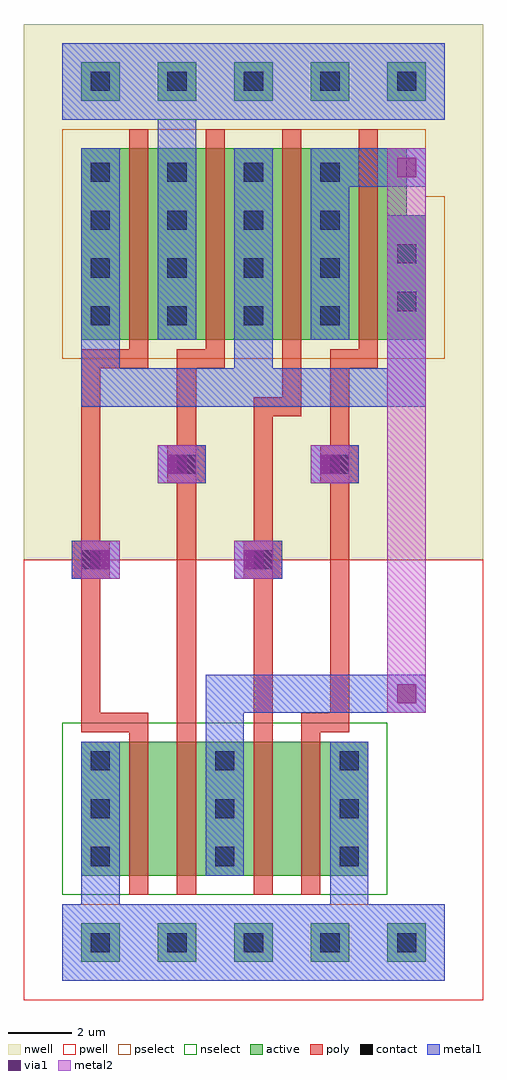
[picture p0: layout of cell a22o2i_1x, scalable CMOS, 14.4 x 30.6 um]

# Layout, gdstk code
import gdstk
lib = gdstk.Library(unit=1e-6, precision=1e-09)
def R(c, l, rs):  # rectangles x0, y0, x1, y1
    for r in rs: c.add(gdstk.rectangle(r[:2], r[2:], *l))
def A(c, l, x, y, w, h, nx, ny, dx, dy):  # array of equal rectangles
    R(c, l, [(x+i*dx, y+j*dy, x+i*dx+w, y+j*dy+h) for i in range(nx) for j in range(ny)])
contact = (25, 0)
pwell = (41, 0)
nwell = (42, 0)
active = (43, 0)
pselect = (44, 0)
nselect = (45, 0)
poly = (46, 0)
metal1 = (49, 0)
via1 = (50, 0)
metal2 = (51, 0)

a22o2i_1x = lib.new_cell('a22o2i_1x')
A(a22o2i_1x, contact, 0.3, -0.3, 0.6, 0.6, 5, 2, 2.4, 27)
A(a22o2i_1x, contact, 0.3, 2.4, 0.6, 0.6, 3, 3, 3.9, 1.5)
A(a22o2i_1x, contact, 0.3, 19.35, 0.6, 0.6, 4, 4, 2.4, 1.5)
R(a22o2i_1x, contact, [(0,11.7,0.6,12.3), (5.4,11.7,6,12.3), (3,14.7,3.6,15.3), (7.8,14.7,8.4,15.3), (9.9,19.8,10.5,20.4), (9.9,21.3,10.5,21.9)])
A(a22o2i_1x, pwell, -0.9, -1.5, 3, 3, 5, 1, 2.4, 0)
A(a22o2i_1x, pwell, -1.8, 0.3, 4.8, 7.8, 3, 1, 3.9, 0)
R(a22o2i_1x, pwell, [(-1.8,-1.8,12.6,12), (-1.2,0.3,4.8,8.1), (0.3,0.3,6.3,8.1), (2.7,0.3,8.7,8.1), (4.2,0.3,10.2,8.1), (2.25,2.55,6.825,7.05), (-1.65,3.15,2.925,7.65), (-0.075,3.3,5.175,7.8), (2.175,3.45,6.75,7.95), (3.825,3.45,9.075,7.95), (6.075,3.45,10.65,7.95)])
A(a22o2i_1x, nwell, -1.8, 17.1, 4.8, 9.6, 4, 1, 2.4, 0)
A(a22o2i_1x, nwell, -1.2, 17.1, 6, 9.6, 4, 1, 2.4, 0)
A(a22o2i_1x, nwell, -0.9, 25.5, 3, 3, 5, 1, 2.4, 0)
R(a22o2i_1x, nwell, [(-1.8,12,12.6,28.8), (0.675,17.1,5.25,21.6), (7.8,17.1,12.6,24.6), (3.075,17.25,7.8,21.75), (3.15,17.25,7.725,21.75), (0.75,17.55,5.325,22.05), (7.875,18.075,12.45,22.575), (5.55,18.15,10.125,22.65), (-1.65,18.6,2.925,23.1), (5.475,19.65,10.05,24.15)])
A(a22o2i_1x, active, 0, -0.6, 1.2, 1.2, 5, 2, 2.4, 27)
A(a22o2i_1x, active, 0, 2.1, 1.2, 4.2, 3, 1, 3.9, 0)
A(a22o2i_1x, active, 0, 18.9, 1.2, 6, 4, 1, 2.4, 0)
A(a22o2i_1x, active, 0.6, 18.9, 2.4, 6, 4, 1, 2.4, 0)
R(a22o2i_1x, active, [(0.6,2.1,3,6.3), (2.1,2.1,4.5,6.3), (4.5,2.1,6.9,6.3), (6,2.1,8.4,6.3), (4.05,4.35,5.025,5.25), (0.15,4.95,1.125,5.85), (1.725,5.1,3.375,6), (3.975,5.25,4.95,6.15), (5.625,5.25,7.275,6.15), (7.875,5.25,8.85,6.15), (2.475,18.9,3.45,19.8), (9.6,18.9,10.8,22.8), (4.875,19.05,6,19.95), (4.95,19.05,5.925,19.95), (2.55,19.35,3.525,20.25), (9.675,19.875,10.65,20.775), (7.35,19.95,8.325,20.85), (0.15,20.4,1.125,21.3), (7.275,21.45,8.25,22.35)])
A(a22o2i_1x, pselect, -0.6, -1.2, 2.4, 2.4, 5, 1, 2.4, 0)
A(a22o2i_1x, pselect, -0.6, 18.3, 2.4, 7.2, 4, 1, 2.4, 0)
A(a22o2i_1x, pselect, 0, 18.3, 3.6, 7.2, 4, 1, 2.4, 0)
R(a22o2i_1x, pselect, [(1.875,18.3,4.05,20.4), (9,18.3,11.4,23.4), (4.275,18.45,6.6,20.55), (4.35,18.45,6.525,20.55), (1.95,18.75,4.125,20.85), (9.075,19.275,11.25,21.375), (6.75,19.35,8.925,21.45), (-0.45,19.8,1.725,21.9), (6.675,20.85,8.85,22.95)])
A(a22o2i_1x, nselect, -0.6, 1.5, 2.4, 5.4, 3, 1, 3.9, 0)
A(a22o2i_1x, nselect, -0.6, 25.8, 2.4, 2.4, 5, 1, 2.4, 0)
R(a22o2i_1x, nselect, [(0,1.5,3.6,6.9), (1.5,1.5,5.1,6.9), (3.9,1.5,7.5,6.9), (5.4,1.5,9,6.9), (3.45,3.75,5.625,5.85), (-0.45,4.35,1.725,6.45), (1.125,4.5,3.975,6.6), (3.375,4.65,5.55,6.75), (5.025,4.65,7.875,6.75), (7.275,4.65,9.45,6.75)])
A(a22o2i_1x, poly, 1.5, 18.3, 0.6, 7.2, 4, 1, 2.4, 0)
R(a22o2i_1x, poly, [(1.5,1.5,2.1,6.9), (3,1.5,3.6,6.9), (5.4,1.5,6,6.9), (6.9,1.5,7.5,6.9), (0,6.6,0.6,12.45), (0,6.6,2.1,7.2), (3,6.6,3.6,15.3), (5.4,6.6,6,12.15), (6.9,6.6,8.4,7.2), (7.8,6.6,8.4,15.15), (-0.3,11.4,0.9,12.6), (5.1,11.4,6.3,12.6), (5.4,11.55,6,17.1), (0,11.85,0.6,18.6), (2.7,14.4,3.9,15.6), (7.5,14.4,8.7,15.6), (3,14.55,3.6,18.6), (7.8,14.55,8.4,18.6), (5.4,16.5,6.9,17.1), (6.3,16.5,6.9,18.6), (0,18,2.1,18.6), (3,18,4.5,18.6), (7.8,18,9.3,18.6)])
A(a22o2i_1x, metal1, -0.6, -1.2, 4.8, 2.4, 3, 1, 2.4, 0)
A(a22o2i_1x, metal1, 0, -0.6, 1.2, 1.2, 5, 1, 2.4, 0)
A(a22o2i_1x, metal1, 0, 2.1, 1.2, 4.2, 3, 1, 3.9, 0)
A(a22o2i_1x, metal1, 0, 16.8, 1.2, 3.3, 3, 1, 4.8, 0)
A(a22o2i_1x, metal1, 0, 18.9, 1.2, 6, 4, 1, 2.4, 0)
A(a22o2i_1x, metal1, 0, 26.4, 1.2, 1.2, 4, 1, 2.4, 0)
R(a22o2i_1x, metal1, [(-0.6,-1.2,1.8,1.2), (-0.6,-1.2,4.2,1.2), (6.6,-1.2,9.6,1.2), (7.2,-1.2,11.4,1.2), (8.1,-1.2,11.4,1.2), (9,-1.2,11.4,1.2), (0,-0.6,1.2,3.3), (7.8,-0.6,9,3.3), (3.9,3.6,5.1,8.4), (3.9,7.2,10.8,8.4), (9.6,7.2,10.8,8.4), (-0.3,11.4,0.9,12.6), (-0.3,11.4,1.2,12.6), (0,11.4,1.2,12.6), (4.8,11.4,6,12.6), (4.8,11.4,6.3,12.6), (5.1,11.4,6.3,12.6), (2.4,14.4,3.6,15.6), (2.4,14.4,3.9,15.6), (2.7,14.4,3.9,15.6), (7.2,14.4,8.4,15.6), (7.2,14.4,8.7,15.6), (7.5,14.4,8.7,15.6), (0,16.8,6,18), (4.8,16.8,10.8,18), (9.6,18.9,10.8,22.8), (2.4,23.7,3.6,27.6), (7.2,23.7,10.8,24.9), (9.6,23.7,10.8,24.9), (-0.6,25.8,1.8,28.2), (-0.6,25.8,4.2,28.2), (1.8,25.8,9,28.2), (6.6,25.8,11.4,28.2), (8.7,25.8,11.4,28.2), (8.7,25.8,11.4,28.2), (0,26.4,1.2,27.6), (4.8,26.4,8.4,27.6), (7.2,26.4,8.4,27.6), (9.6,26.4,10.8,27.6), (9.6,26.4,10.8,27.6), (9.6,26.4,10.8,27.6)])
R(a22o2i_1x, via1, [(9.9,7.5,10.5,8.1), (0.3,11.7,0.9,12.3), (5.1,11.7,5.7,12.3), (2.7,14.7,3.3,15.3), (7.5,14.7,8.1,15.3), (9.9,24,10.5,24.6)])
R(a22o2i_1x, metal2, [(9.6,7.2,10.8,8.4), (9.6,7.2,10.8,24.9), (0,11.4,1.2,12.6), (4.8,11.4,6,12.6), (2.4,14.4,3.6,15.6), (7.2,14.4,8.4,15.6), (9.6,23.7,10.8,24.9)])

lib.write_gds('a22o2i_1x.gds')
